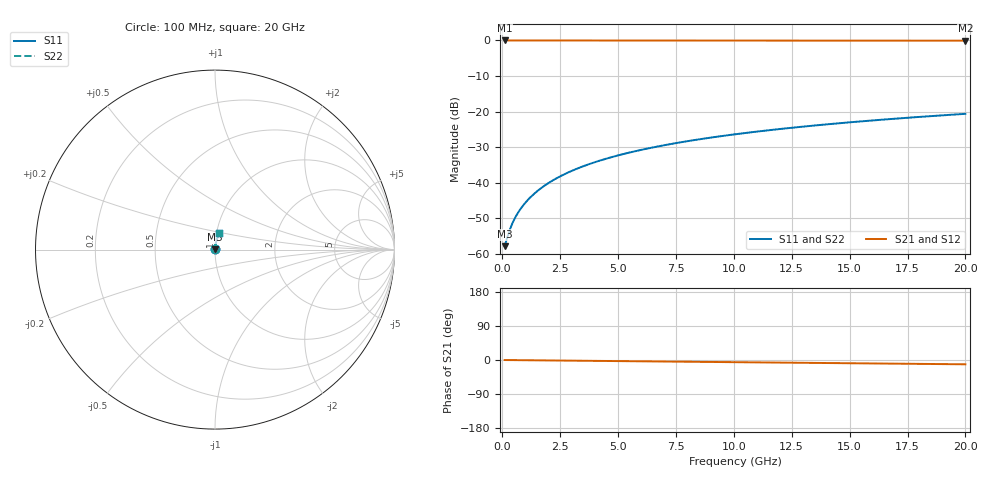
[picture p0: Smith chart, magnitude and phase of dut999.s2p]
! Touchstone file exported from HFSS 2026.1.0
!  File:  C:/ffzhzh/LocalFiles/Ansys_Project_Files/temp_train_BSMRDL_999_1783173063_51560.aedt
!  Generated:  09:52:14 PM Jul  4, 2026
!  Design:  BSMRDL
!  Project:  temp_train_BSMRDL_999_1783173063_51560
! Variables:
!  h_bsmrdl = 2.6um
!  h_ox = 20um
!  h_rdl = 5um
!  h_sub = 80um
!  h_tmrdl = 5um
!  h_tsv = 80um
!  h_via = 3um
!  l_bsmrdl = 147.92um
!  l_sub = 547.92um
!  l_tmrdl = 200um
!  m_sub = 200um
!  pitch = 40.3um
!  r_tsv = 6um
!  s_tmrdl = 10um
!  w_bsmrdl = 25.1um
!  w_sub = 500um
!  w_tmrdl = 12um
!  x_tsv_center1 = 206um
!  x_tsv_center2 = 379.02um
!  x_tsv_center3 = 591.02um
!  x_tsv_center4 = 764.04um
!  x_tsv_center5 = 976.04um
!  x_tsv_center6 = 1149.06um
# GHz S MA R 50.000000
! Terminal data exported
! Port[1] = BSM_RDL1_1_T1
! Port[2] = BSM_RDL1_1_T2
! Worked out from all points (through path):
!   200 points, 100 MHz to 20 GHz, reference 50 ohm
!   highest |S21| = -0.01 dB at 100 MHz (marker M1); lowest = -0.1 dB at 20 GHz (marker M2)
!   group delay of S21, straight-line fit = 1.58 ps
!   lowest |S11| = -57.8 dB at 100 MHz (marker M3), VSWR 1.00, Z = 50.1 + j0.057 ohm
!   |S11| at or under -10 dB: start of sweep to end of sweep
!   |S22| runs from -57.8 to -20.6 dB; largest |S21 - S12| = 3.2e-15
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0.1  0.001283 26.3  0.9989 -0.1  0.9989 -0.1  0.001283 26.3
! Gamma 0 0 0 0
! Port Impedance 50 0 50 0
0.3  0.002072 52.7  0.9987 -0.2  0.9987 -0.2  0.002072 52.7
0.4  0.002524 58.6  0.9987 -0.2  0.9987 -0.2  0.002524 58.6
0.5  0.002979 62.6  0.9986 -0.3  0.9986 -0.3  0.002979 62.6
0.6  0.003433 65.6  0.9986 -0.4  0.9986 -0.4  0.003433 65.6
0.8  0.004339 69.8  0.9985 -0.5  0.9985 -0.5  0.004339 69.8
1  0.005252 72.7  0.9985 -0.6  0.9985 -0.6  0.005252 72.7
1.2  0.006173 74.8  0.9984 -0.7  0.9984 -0.7  0.006173 74.8
1.4  0.007102 76.4  0.9984 -0.8  0.9984 -0.8  0.007102 76.4
1.7  0.008508 78.2  0.9984 -1.0  0.9984 -1.0  0.008508 78.2
2.2  0.01087 80.1  0.9983 -1.3  0.9983 -1.3  0.01087 80.1
2.8  0.01372 81.3  0.9982 -1.6  0.9982 -1.6  0.01372 81.3
3.5  0.01706 82.1  0.9981 -2.0  0.9981 -2.0  0.01706 82.1
4.2  0.0204 82.4  0.998 -2.4  0.998 -2.4  0.0204 82.4
5  0.02421 82.6  0.9978 -2.9  0.9978 -2.9  0.02421 82.6
5.9  0.02848 82.5  0.9976 -3.4  0.9976 -3.4  0.02848 82.5
6.8  0.03274 82.3  0.9973 -3.9  0.9973 -3.9  0.03274 82.3
8.3  0.03979 81.8  0.9968 -4.8  0.9968 -4.8  0.03979 81.8
10.1  0.04817 81.0  0.9962 -5.8  0.9962 -5.8  0.04817 81.0
13.4  0.06334 79.5  0.9948 -7.7  0.9948 -7.7  0.06334 79.5
16.7  0.07826 77.8  0.9933 -9.5  0.9933 -9.5  0.07826 77.8
20  0.09296 76.1  0.9916 -11.4  0.9916 -11.4  0.09296 76.1
